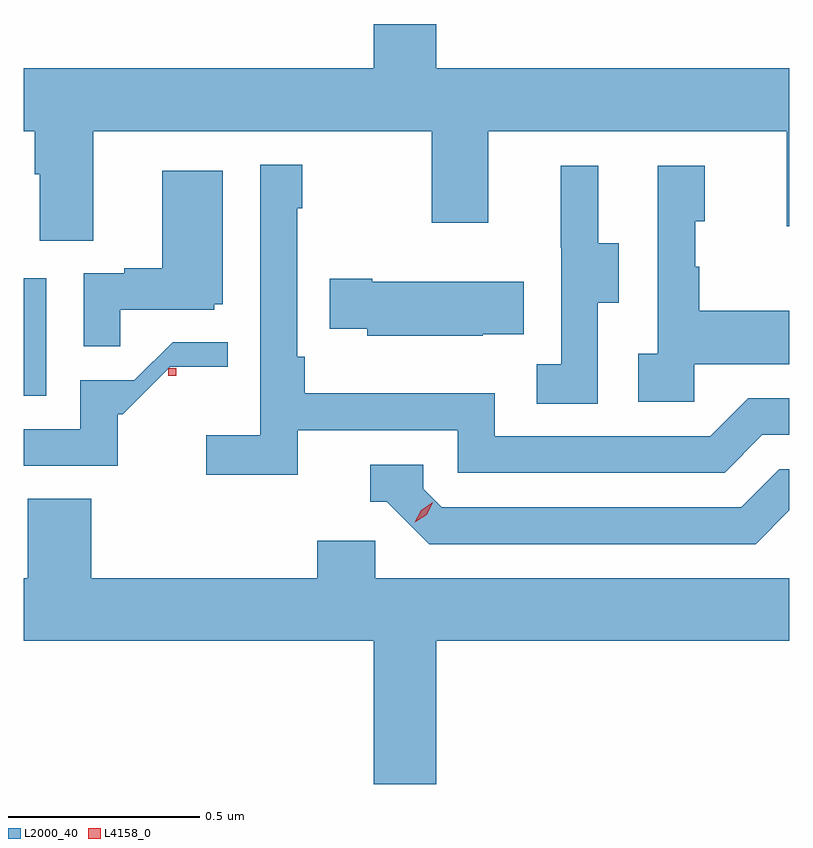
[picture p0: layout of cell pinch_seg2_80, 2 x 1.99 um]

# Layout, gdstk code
import gdstk
lib = gdstk.Library(unit=1e-6, precision=1e-09)
def R(c, l, rs):  # rectangles x0, y0, x1, y1
    for r in rs: c.add(gdstk.rectangle(r[:2], r[2:], *l))
def P(c, l, *ps):  # polygons
    for p in ps: c.add(gdstk.Polygon(p, *l))
L2000_40 = (2000, 40)
L4158_0 = (4158, 0)

pinch_seg2_80 = lib.new_cell('pinch_seg2_80')
R(pinch_seg2_80, L2000_40, [(1039.218,656.268,1039.276,656.575)])
P(pinch_seg2_80, L2000_40, [(1039.399,656.96),(1040.284,656.96),(1040.284,656.721),(1040.431,656.721),(1040.431,656.96),(1041.212,656.96),(1041.212,656.712),(1041.218,656.712),(1041.218,657.124),(1040.296,657.124),(1040.296,657.24),(1040.132,657.24),(1040.132,657.124),(1039.218,657.124),(1039.218,656.96),(1039.247,656.96),(1039.247,656.848),(1039.259,656.848),(1039.259,656.674),(1039.399,656.674)],
  [(1039.934,656.178),(1040.352,656.178),(1040.352,656.067),(1041.049,656.067),(1041.148,656.166),(1041.218,656.166),(1041.218,656.262),(1041.111,656.262),(1041.012,656.163),(1040.448,656.163),(1040.448,656.275),(1039.952,656.275),(1039.952,656.371),(1039.932,656.371),(1039.932,656.759),(1039.945,656.759),(1039.945,656.872),(1039.836,656.872),(1039.836,656.165),(1039.695,656.165),(1039.695,656.062),(1039.934,656.062)],
  [(1040.97,656.351),(1041.218,656.351),(1041.218,656.491),(1040.983,656.491),(1040.983,656.606),(1040.973,656.606),(1040.973,656.724),(1040.998,656.724),(1040.998,656.869),(1040.874,656.869),(1040.874,656.378),(1040.823,656.378),(1040.823,656.253),(1040.97,656.253)],
  [(1040.718,656.512),(1040.773,656.512),(1040.773,656.667),(1040.719,656.667),(1040.719,656.869),(1040.621,656.869),(1040.621,656.655),(1040.622,656.655),(1040.622,656.351),(1040.559,656.351),(1040.559,656.248),(1040.718,656.248)],
  [(1039.47,656.493),(1039.716,656.493),(1039.716,656.508),(1039.738,656.508),(1039.738,656.857),(1039.58,656.857),(1039.58,656.602),(1039.481,656.602),(1039.481,656.589),(1039.374,656.589),(1039.374,656.398),(1039.47,656.398)],
  [(1040.417,656.429),(1040.525,656.429),(1040.525,656.566),(1040.128,656.566),(1040.128,656.574),(1040.017,656.574),(1040.017,656.444),(1040.115,656.444),(1040.115,656.426),(1040.417,656.426)],
  [(1039.464,656.22),(1039.476,656.22),(1039.6,656.344),(1039.751,656.344),(1039.751,656.408),(1039.607,656.408),(1039.507,656.309),(1039.365,656.309),(1039.365,656.181),(1039.218,656.181),(1039.218,656.085),(1039.464,656.085)],
  [(1041.218,655.969),(1041.218,656.076),(1041.192,656.076),(1041.093,655.977),(1040.31,655.977),(1040.262,656.025),(1040.262,656.088),(1040.123,656.088),(1040.123,655.992),(1040.166,655.992),(1040.277,655.881),(1041.13,655.881)],
  [(1040.296,655.628),(1041.218,655.628),(1041.218,655.792),(1040.136,655.792),(1040.136,655.89),(1039.985,655.89),(1039.985,655.792),(1039.394,655.792),(1039.394,656),(1039.228,656),(1039.228,655.792),(1039.218,655.792),(1039.218,655.628),(1040.132,655.628),(1040.132,655.254),(1040.296,655.254)])
R(pinch_seg2_80, L4158_0, [(1039.596,656.321,1039.616,656.341)])
P(pinch_seg2_80, L4158_0, [(1040.24,655.938),(1040.24,655.938),(1040.256,655.97),(1040.287,655.99),(1040.287,655.99),(1040.287,655.989),(1040.271,655.957),(1040.24,655.938)])

lib.write_gds('pinch_seg2_80.gds')
